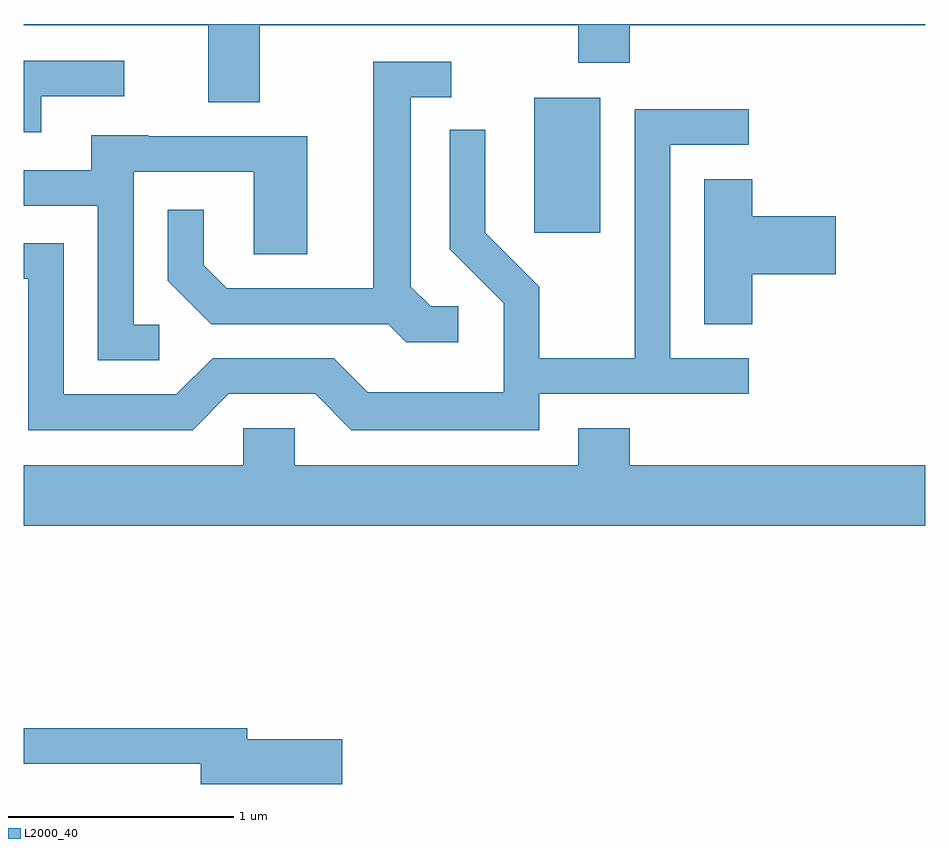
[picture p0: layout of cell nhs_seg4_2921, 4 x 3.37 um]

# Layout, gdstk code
import gdstk
lib = gdstk.Library(unit=1e-6, precision=1e-09)
def R(c, l, rs):  # rectangles x0, y0, x1, y1
    for r in rs: c.add(gdstk.rectangle(r[:2], r[2:], *l))
def P(c, l, *ps):  # polygons
    for p in ps: c.add(gdstk.Polygon(p, *l))
L2000_40 = (2000, 40)

nhs_seg4_2921 = lib.new_cell('nhs_seg4_2921')
R(nhs_seg4_2921, L2000_40, [(271.876,1387.056,272.169,1387.654)])
P(nhs_seg4_2921, L2000_40, [(270.659,1387.976),(272.071,1387.976),(272.071,1387.811),(272.299,1387.811),(272.299,1387.976),(273.611,1387.976),(273.611,1387.982),(269.611,1387.982),(269.611,1387.976),(270.431,1387.976),(270.431,1387.636),(270.659,1387.636)],
  [(269.689,1387.661),(270.058,1387.661),(270.058,1387.819),(269.611,1387.819),(269.611,1387.501),(269.689,1387.501)],
  [(271.538,1386.729),(271.417,1386.729),(271.329,1386.817),(271.329,1387.656),(271.508,1387.656),(271.508,1387.814),(271.161,1387.814),(271.161,1386.809),(270.512,1386.809),(270.409,1386.912),(270.409,1387.158),(270.251,1387.158),(270.251,1386.844),(270.444,1386.651),(271.229,1386.651),(271.309,1386.571),(271.538,1386.571)],
  [(270.522,1386.341),(270.904,1386.341),(271.064,1386.181),(271.899,1386.181),(271.899,1386.341),(272.828,1386.341),(272.828,1386.499),(272.479,1386.499),(272.479,1387.446),(272.828,1387.446),(272.828,1387.604),(272.321,1387.604),(272.321,1386.499),(271.899,1386.499),(271.899,1386.817),(271.659,1387.057),(271.659,1387.513),(271.501,1387.513),(271.501,1386.984),(271.741,1386.744),(271.741,1386.349),(271.137,1386.349),(270.987,1386.499),(270.449,1386.499),(270.289,1386.339),(269.789,1386.339),(269.789,1387.009),(269.611,1387.009),(269.611,1386.851),(269.631,1386.851),(269.631,1386.181),(270.362,1386.181)],
  [(270.213,1386.649),(270.099,1386.649),(270.099,1387.326),(270.631,1387.326),(270.631,1386.961),(270.869,1386.961),(270.869,1387.484),(270.165,1387.484),(270.165,1387.489),(269.911,1387.489),(269.911,1387.334),(269.611,1387.334),(269.611,1387.176),(269.941,1387.176),(269.941,1386.491),(270.213,1386.491)],
  [(272.844,1386.871),(273.214,1386.871),(273.214,1387.129),(272.844,1387.129),(272.844,1387.294),(272.631,1387.294),(272.631,1386.651),(272.844,1386.651)],
  [(273.611,1386.024),(272.299,1386.024),(272.299,1386.189),(272.071,1386.189),(272.071,1386.024),(270.814,1386.024),(270.814,1386.189),(270.586,1386.189),(270.586,1386.024),(269.611,1386.024),(269.611,1385.756),(273.611,1385.756)],
  [(271.024,1384.809),(270.604,1384.809),(270.604,1384.859),(269.611,1384.859),(269.611,1384.701),(270.396,1384.701),(270.396,1384.611),(271.024,1384.611)])

lib.write_gds('nhs_seg4_2921.gds')
